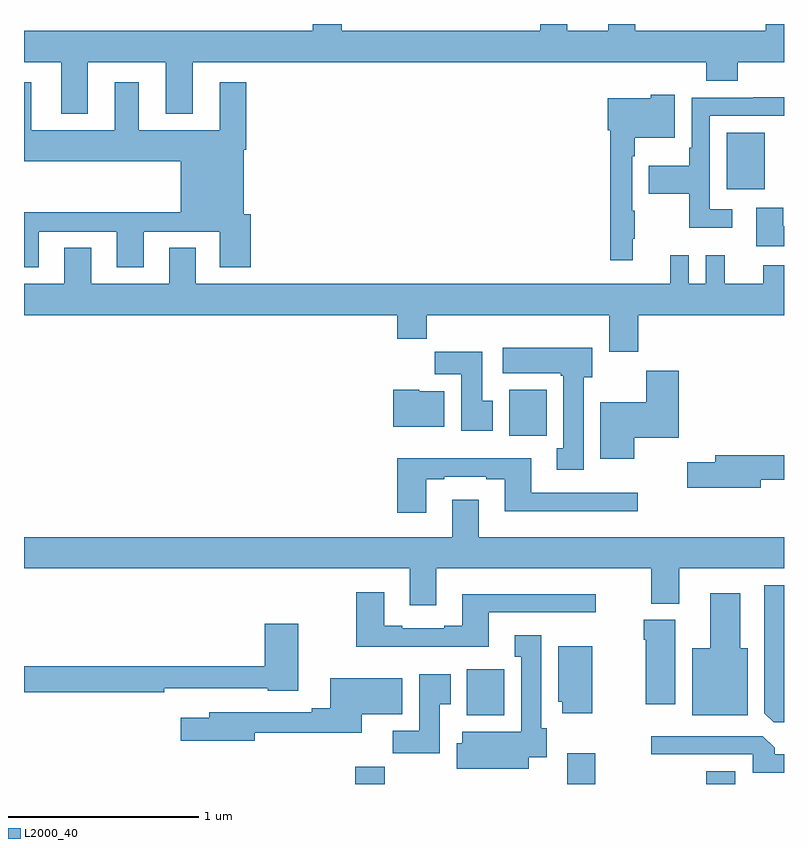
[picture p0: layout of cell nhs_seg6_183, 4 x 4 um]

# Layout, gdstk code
import gdstk
lib = gdstk.Library(unit=1e-6, precision=1e-09)
def R(c, l, rs):  # rectangles x0, y0, x1, y1
    for r in rs: c.add(gdstk.rectangle(r[:2], r[2:], *l))
def P(c, l, *ps):  # polygons
    for p in ps: c.add(gdstk.Polygon(p, *l))
L2000_40 = (2000, 40)

nhs_seg6_183 = lib.new_cell('nhs_seg6_183')
R(nhs_seg6_183, L2000_40, [(120.743,979.5,120.899,979.592), (121.859,979.5,122.007,979.663), (122.591,979.5,122.743,979.567), (121.331,979.862,121.528,980.104), (121.553,981.332,121.75,981.574), (122.699,982.631,122.899,982.927)])
P(nhs_seg6_183, L2000_40, [(119.335,983.3),(119.747,983.3),(119.747,983.027),(119.887,983.027),(119.887,983.3),(122.591,983.3),(122.591,983.201),(122.756,983.201),(122.756,983.3),(123,983.3),(123,983.5),(122.903,983.5),(122.903,983.464),(122.216,983.464),(122.216,983.5),(122.075,983.5),(122.075,983.464),(121.858,983.464),(121.858,983.5),(121.718,983.5),(121.718,983.464),(120.673,983.464),(120.673,983.5),(120.521,983.5),(120.521,983.464),(119,983.464),(119,983.3),(119.195,983.3),(119.195,983.027),(119.335,983.027)],
  [(119.077,982.407),(119.489,982.407),(119.489,982.221),(119.629,982.221),(119.629,982.407),(120.029,982.407),(120.029,982.221),(120.194,982.221),(120.194,982.5),(120.157,982.5),(120.157,982.838),(120.17,982.838),(120.17,983.194),(120.029,983.194),(120.029,982.942),(119.605,982.942),(119.605,983.194),(119.477,983.194),(119.477,982.942),(119.038,982.942),(119.038,983.194),(119,983.194),(119,982.778),(119.825,982.778),(119.825,982.508),(119,982.508),(119,982.221),(119.077,982.221)],
  [(122.204,982.369),(122.215,982.369),(122.215,982.517),(122.202,982.517),(122.202,982.805),(122.215,982.805),(122.215,982.901),(122.425,982.901),(122.425,983.128),(122.298,983.128),(122.298,983.11),(122.072,983.11),(122.072,982.94),(122.086,982.94),(122.086,982.257),(122.204,982.257)],
  [(122.728,982.524),(122.61,982.524),(122.61,983.016),(123,983.016),(123,983.114),(122.839,983.114),(122.839,983.112),(122.514,983.112),(122.514,982.849),(122.502,982.849),(122.502,982.753),(122.287,982.753),(122.287,982.606),(122.502,982.606),(122.502,982.427),(122.728,982.427)],
  [(123,982.435),(122.995,982.435),(122.995,982.534),(122.855,982.534),(122.855,982.331),(123,982.331)],
  [(122.234,981.968),(123,981.968),(123,982.231),(122.891,982.231),(122.891,982.132),(122.687,982.132),(122.687,982.282),(122.589,982.282),(122.589,982.132),(122.499,982.132),(122.499,982.282),(122.402,982.282),(122.402,982.132),(119.905,982.132),(119.905,982.322),(119.765,982.322),(119.765,982.132),(119.353,982.132),(119.353,982.322),(119.213,982.322),(119.213,982.132),(119,982.132),(119,981.968),(120.965,981.968),(120.965,981.844),(121.121,981.844),(121.121,981.968),(122.081,981.968),(122.081,981.774),(122.234,981.774)],
  [(121.945,981.642),(121.99,981.642),(121.99,981.796),(121.521,981.796),(121.521,981.662),(121.825,981.662),(121.825,981.649),(121.838,981.649),(121.838,981.266),(121.805,981.266),(121.805,981.153),(121.945,981.153)],
  [(121.468,981.516),(121.411,981.516),(121.411,981.775),(121.162,981.775),(121.162,981.656),(121.301,981.656),(121.301,981.36),(121.468,981.36)],
  [(122.212,981.323),(122.447,981.323),(122.447,981.676),(122.276,981.676),(122.276,981.508),(122.033,981.508),(122.033,981.212),(122.212,981.212)],
  [(121.213,981.568),(121.08,981.568),(121.08,981.574),(120.944,981.574),(120.944,981.38),(121.213,981.38)],
  [(122.878,981.102),(123,981.102),(123,981.23),(122.639,981.23),(122.639,981.194),(122.49,981.194),(122.49,981.059),(122.878,981.059)],
  [(121.117,981.105),(121.213,981.105),(121.213,981.117),(121.433,981.117),(121.433,981.105),(121.529,981.105),(121.529,980.936),(122.23,980.936),(122.23,981.033),(121.669,981.033),(121.669,981.214),(120.965,981.214),(120.965,980.928),(121.117,980.928)],
  [(121.171,980.636),(122.302,980.636),(122.302,980.449),(122.449,980.449),(122.449,980.636),(123,980.636),(123,980.8),(121.393,980.8),(121.393,980.995),(121.253,980.995),(121.253,980.8),(119,980.8),(119,980.636),(121.031,980.636),(121.031,980.442),(121.171,980.442)],
  [(123,980.545),(122.897,980.545),(122.897,979.873),(122.946,979.824),(123,979.824)],
  [(121.447,980.403),(122.008,980.403),(122.008,980.5),(121.307,980.5),(121.307,980.332),(121.211,980.332),(121.211,980.319),(120.991,980.319),(120.991,980.332),(120.895,980.332),(120.895,980.509),(120.748,980.509),(120.748,980.222),(121.447,980.222)],
  [(122.809,980.215),(122.77,980.215),(122.77,980.503),(122.612,980.503),(122.612,980.215),(122.516,980.215),(122.516,979.862),(122.809,979.862)],
  [(122.428,980.364),(122.261,980.364),(122.261,980.258),(122.273,980.258),(122.273,979.92),(122.428,979.92)],
  [(119.738,980.004),(120.282,980.004),(120.282,979.991),(120.444,979.991),(120.444,980.344),(120.266,980.344),(120.266,980.12),(119,980.12),(119,979.984),(119.738,979.984)],
  [(121.657,979.64),(121.75,979.64),(121.75,979.794),(121.723,979.794),(121.723,980.284),(121.583,980.284),(121.583,980.171),(121.616,980.171),(121.616,979.774),(121.307,979.774),(121.307,979.715),(121.277,979.715),(121.277,979.58),(121.657,979.58)],
  [(121.99,980.224),(121.811,980.224),(121.811,979.932),(121.832,979.932),(121.832,979.872),(121.99,979.872)],
  [(121.189,979.921),(121.246,979.921),(121.246,980.077),(121.079,980.077),(121.079,979.78),(120.94,979.78),(120.94,979.662),(121.189,979.662)],
  [(120.214,979.77),(120.778,979.77),(120.778,979.868),(120.991,979.868),(120.991,980.056),(120.611,980.056),(120.611,979.898),(120.515,979.898),(120.515,979.878),(119.975,979.878),(119.975,979.849),(119.826,979.849),(119.826,979.727),(120.214,979.727)],
  [(123,979.656),(122.951,979.656),(122.951,979.69),(122.889,979.752),(122.301,979.752),(122.301,979.656),(122.835,979.656),(122.835,979.56),(123,979.56)])

lib.write_gds('nhs_seg6_183.gds')
